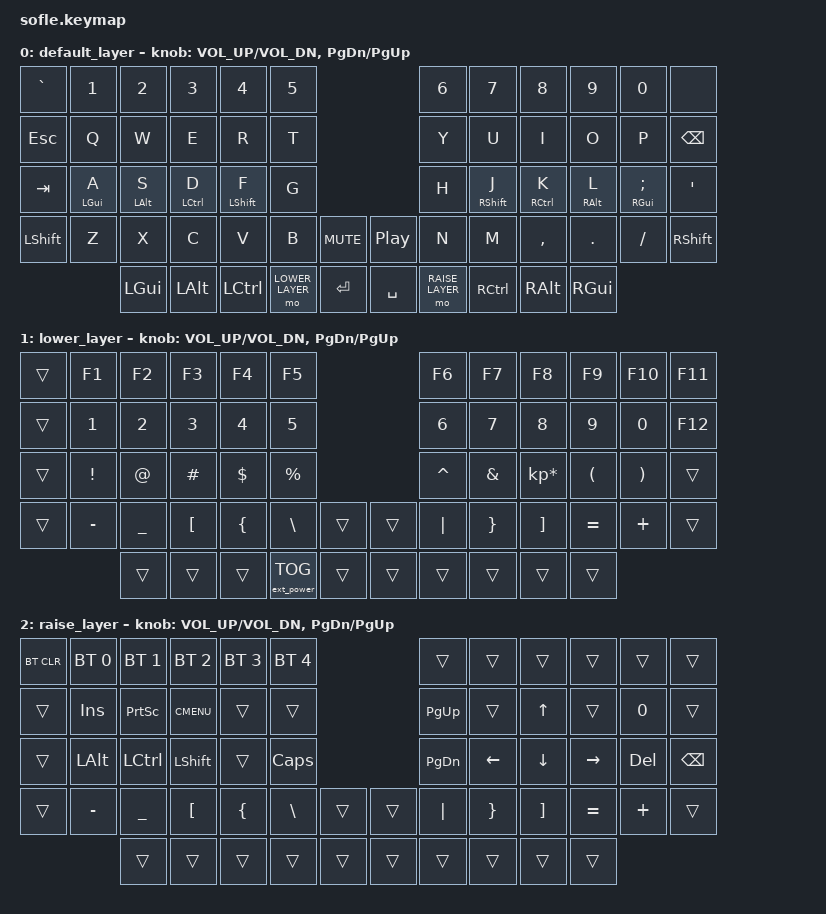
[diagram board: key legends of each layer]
#include <behaviors.dtsi>
#include <dt-bindings/zmk/keys.h>
#include <dt-bindings/zmk/bt.h>
#include <dt-bindings/zmk/ext_power.h>
#include "key-labels/sofle.h"

#define DEFAULT_LAYER 0
#define LOWER_LAYER 1
#define RAISE_LAYER 2

#define kp_lower &mo LOWER_LAYER
#define kp_raise &mo RAISE_LAYER

#define KEYS_L LM0 LM1 LM2 LM3 LM4 LM5
#define KEYS_R RM0 RM1 RM2 RM3 RM4 RM5

#include "includes/mods.dtsi"

#define kp_A &hml LGUI A
#define kp_S &hml LALT S
#define kp_D &hml LCTRL D
#define kp_F &hml LSHFT F

#define kp_J &hmr RSHFT J
#define kp_K &hmr RCTRL K
#define kp_L &hmr RALT L
#define kp_SEMI &hmr RGUI SEMI

/ {
    keymap {
        compatible = "zmk,keymap";

        default_layer {
// ------------------------------------------------------------------------------------------------------------
// |  `    |  1  |  2  |  3   |  4   |  5   |                         |  6   |  7    |  8    |  9   |   0   |       |
// |  ESC  |  Q  |  W  |  E   |  R   |  T   |                         |  Y   |  U    |  I    |  O   |   P   | BKSPC |
// |  TAB  |  A  |  S  |  D   |  F   |  G   |                         |  H   |  J    |  K    |  L   |   ;   |   '   |
// | SHIFT |  Z  |  X  |  C   |  V   |  B   |  MUTE  |        | PLAY     |  N   |  M    |  ,    |  .   |   /   | SHIFT |
//               | GUI | ALT  | CTRL | LOWER|  ENTER |        | SPACE | RAISE| CTRL  | ALT   | GUI  |
            bindings = <
&kp GRAVE &kp N1 &kp N2   &kp N3   &kp N4    &kp N5                           &kp N6 &kp N7    &kp N8    &kp N9   &kp N0   &none
&kp ESC   &kp Q  &kp W    &kp E    &kp R     &kp T                            &kp Y  &kp U     &kp I     &kp O    &kp P    &kp BSPC
&kp TAB   kp_A   kp_S     kp_D     kp_F      &kp G                            &kp H  kp_J      kp_K      kp_L     kp_SEMI  &kp SQT
&kp LSHFT &kp Z  &kp X    &kp C    &kp V     &kp B  &kp C_MUTE      &kp C_PP  &kp N  &kp M     &kp COMMA &kp DOT  &kp FSLH &kp RSHFT
                 &kp LGUI &kp LALT &kp LCTRL kp_lower  &kp RET      &kp SPACE kp_raise  &kp RCTRL &kp RALT  &kp RGUI
            >;

            sensor-bindings = <&inc_dec_kp C_VOL_UP C_VOL_DN &inc_dec_kp PG_DN PG_UP>;
        };

        lower_layer {
// ------------------------------------------------------------------------------------------------------------
// |       |  F1 |  F2 |  F3  |  F4  |  F5  |                   |  F6  |  F7   |  F8   |  F9  |  F10  |  F11  |
// |       |   1 |   2 |   3  |   4  |   5  |                   |   6  |   7   |   8   |   9  |    0  |  F12  |
// |       |  !  |  @  |  #   |  $   |  %   |                   |  ^   |  &    |  *    |  (   |   )   |       |
// |       |  -  |  _  |  [   |  {   |  \   |        |  |       |  |   |  }    |  ]    |  =   |   +   |       |
//               |     |      |      |      |        |  |       |      |       |       |      |
            bindings = <
&trans &kp F1    &kp F2    &kp F3   &kp F4    &kp F5                           &kp F6    &kp F7   &kp F8          &kp F9    &kp F10   &kp F11
&trans &kp N1    &kp N2    &kp N3   &kp N4    &kp N5                           &kp N6    &kp N7   &kp N8          &kp N9    &kp N0    &kp F12
&trans &kp EXCL  &kp AT    &kp HASH &kp DLLR  &kp PRCNT                        &kp CARET &kp AMPS &kp KP_MULTIPLY &kp LPAR  &kp RPAR  &trans
&trans &kp MINUS &kp UNDER &kp LBKT &kp LBRC  &kp BSLH          &trans  &trans &kp PIPE  &kp RBRC &kp RBKT        &kp EQUAL &kp PLUS  &trans
                 &trans    &trans   &trans    &ext_power EP_TOG &trans  &trans &trans    &trans   &trans          &trans
            >;

            sensor-bindings = <&inc_dec_kp C_VOL_UP C_VOL_DN &inc_dec_kp PG_DN PG_UP>;
        };

        raise_layer {
// ------------------------------------------------------------------------------------------------------------
// |BTCLR| BT1  | BT2  |  BT3  |  BT4  |  BT5 |                |      |      |       |      |       |       |
// |     | INS  | PSCR | GUI   |       |      |                | PGUP |      |   ^   |      |       |       |
// |     | ALT  | CTRL | SHIFT |       | CAPS |                | PGDN |   <- |   v   |  ->  |  DEL  | BKSPC |
// |     |  -   |  _   |  [    |  {    |  \   |      |  |      |  |   |  }   |  ]    |  =   |   +   |       |
//              |      |       |       |      |      |  |      |      |      |       |      |
            bindings = <
&bt BT_CLR &bt BT_SEL 0 &bt BT_SEL 1 &bt BT_SEL 2 &bt BT_SEL 3 &bt BT_SEL 4             &trans    &trans    &trans   &trans    &trans  &trans
&trans     &kp INS      &kp PSCRN    &kp K_CMENU  &trans       &trans                   &kp PG_UP &trans    &kp UP   &trans    &kp N0  &trans
&trans     &kp LALT     &kp LCTRL    &kp LSHFT    &trans       &kp CLCK                 &kp PG_DN &kp LEFT  &kp DOWN &kp RIGHT &kp DEL &kp BSPC
&trans     &kp MINUS    &kp UNDER    &kp LBKT     &kp LBRC     &kp BSLH &trans  &trans  &kp PIPE  &kp RBRC  &kp RBKT &kp EQUAL &kp PLUS &trans
                        &trans       &trans       &trans       &trans  &trans   &trans  &trans    &trans    &trans   &trans
            >;

            sensor-bindings = <&inc_dec_kp C_VOL_UP C_VOL_DN &inc_dec_kp PG_DN PG_UP>;
        };
    };
};
